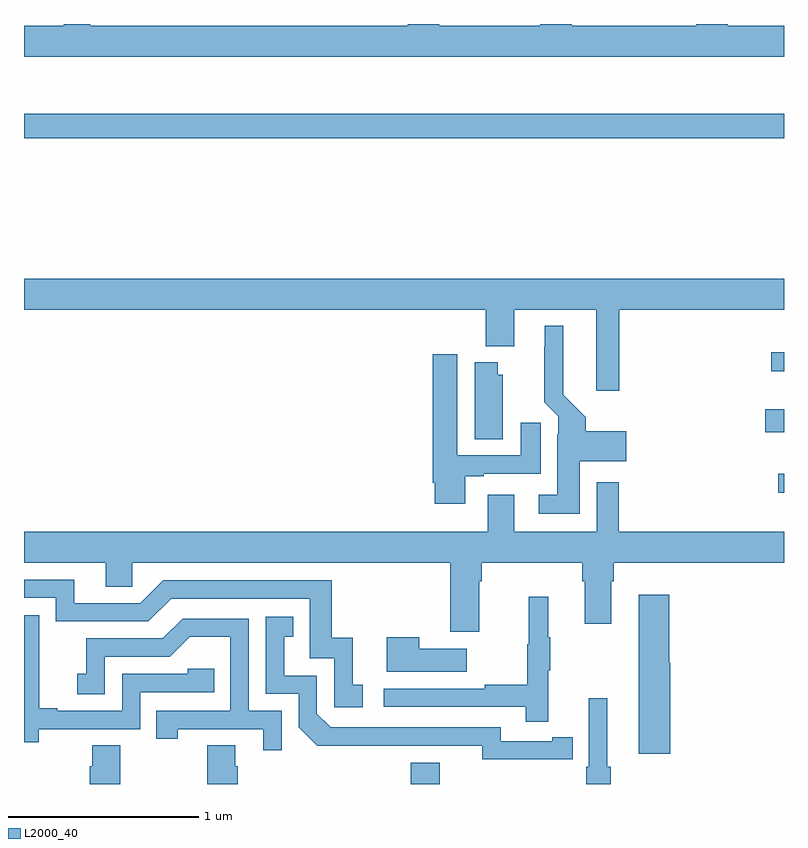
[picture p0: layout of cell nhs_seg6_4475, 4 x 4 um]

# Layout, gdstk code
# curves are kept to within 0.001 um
import gdstk
lib = gdstk.Library(unit=1e-6, precision=1e-09)
def R(c, l, rs):  # rectangles x0, y0, x1, y1
    for r in rs: c.add(gdstk.rectangle(r[:2], r[2:], *l))
def P(c, l, *ps):  # polygons
    for p in ps: c.add(gdstk.Polygon(p, *l))
L2000_40 = (2000, 40)

nhs_seg6_4475 = lib.new_cell('nhs_seg6_4475')
R(nhs_seg6_4475, L2000_40, [(377.036,951.5,377.188,951.613), (378.969,953.033,379,953.134), (378.9,953.351,379,953.473), (378.933,953.673,379,953.773), (375,954.898,379,955.027)])
P(nhs_seg6_4475, L2000_40, [(379,955.492),(378.704,955.492),(378.704,955.5),(378.539,955.5),(378.539,955.492),(377.882,955.492),(377.882,955.5),(377.717,955.5),(377.717,955.492),(377.186,955.492),(377.186,955.5),(377.021,955.5),(377.021,955.492),(375.348,955.492),(375.348,955.5),(375.209,955.5),(375.209,955.492),(375,955.492),(375,955.328),(379,955.328)],
  [(378.134,953.996),(379,953.996),(379,954.16),(375,954.16),(375,953.996),(377.429,953.996),(377.429,953.804),(377.581,953.804),(377.581,953.996),(378.011,953.996),(378.011,953.571),(378.134,953.571)],
  [(377.926,953.198),(378.169,953.198),(378.169,953.356),(377.957,953.356),(377.957,953.43),(377.839,953.548),(377.839,953.911),(377.741,953.911),(377.741,953.801),(377.737,953.801),(377.737,953.51),(377.811,953.436),(377.811,953.342),(377.807,953.342),(377.807,953.023),(377.709,953.023),(377.709,952.922),(377.926,952.922)],
  [(377.323,953.121),(377.419,953.121),(377.419,953.133),(377.719,953.133),(377.719,953.401),(377.615,953.401),(377.615,953.229),(377.281,953.229),(377.281,953.761),(377.15,953.761),(377.15,953.086),(377.162,953.086),(377.162,952.974),(377.323,952.974)],
  [(377.521,953.655),(377.494,953.655),(377.494,953.719),(377.372,953.719),(377.372,953.314),(377.521,953.314)],
  [(377.395,952.568),(377.408,952.568),(377.408,952.664),(377.939,952.664),(377.939,952.568),(377.951,952.568),(377.951,952.344),(378.091,952.344),(378.091,952.568),(378.104,952.568),(378.104,952.664),(379,952.664),(379,952.828),(378.131,952.828),(378.131,953.089),(378.015,953.089),(378.015,952.828),(377.581,952.828),(377.581,953.023),(377.441,953.023),(377.441,952.828),(375,952.828),(375,952.664),(375.431,952.664),(375.431,952.537),(375.57,952.537),(375.57,952.664),(377.243,952.664),(377.243,952.302),(377.395,952.302)],
  [(376.783,952.023),(376.73,952.023),(376.73,952.27),(376.619,952.27),(376.619,952.572),(375.732,952.572),(375.612,952.452),(375.265,952.452),(375.265,952.575),(375,952.575),(375,952.479),(375.168,952.479),(375.168,952.356),(375.654,952.356),(375.774,952.476),(376.503,952.476),(376.503,952.161),(376.632,952.161),(376.632,951.903),(376.783,951.903)],
  [(378.4,952.137),(378.395,952.137),(378.395,952.495),(378.236,952.495),(378.236,951.66),(378.4,951.66)],
  [(377.759,952.099),(377.77,952.099),(377.77,952.273),(377.759,952.273),(377.759,952.486),(377.656,952.486),(377.656,952.236),(377.649,952.236),(377.649,952.022),(377.425,952.022),(377.425,952.002),(376.893,952.002),(376.893,951.906),(377.641,951.906),(377.641,951.828),(377.759,951.828)],
  [(375.078,951.789),(375.612,951.789),(375.612,951.984),(376.001,951.984),(376.001,952.107),(375.861,952.107),(375.861,952.08),(375.516,952.08),(375.516,951.885),(375.175,951.885),(375.175,951.898),(375.08,951.898),(375.08,952.181),(375.081,952.181),(375.081,952.387),(375,952.387),(375,951.721),(375.078,951.721)],
  [(377.78,951.63),(377.888,951.63),(377.888,951.746),(377.78,951.746),(377.78,951.726),(377.508,951.726),(377.508,951.798),(376.614,951.798),(376.542,951.87),(376.542,952.071),(376.369,952.071),(376.369,952.275),(376.418,952.275),(376.418,952.381),(376.272,952.381),(376.272,951.975),(376.446,951.975),(376.446,951.798),(376.544,951.701),(377.412,951.702),(377.412,951.629)],
  [(376.356,951.885),(376.182,951.885),(376.182,952.371),(375.836,952.371),(375.731,952.266),(375.328,952.266),(375.328,952.081),(375.279,952.081),(375.279,951.972),(375.426,951.972),(375.426,952.17),(375.768,952.17),(375.872,952.274),(376.086,952.274),(376.086,951.885),(375.697,951.885),(375.697,951.738),(375.808,951.738),(375.808,951.789),(376.259,951.789),(376.259,951.678),(376.356,951.678)],
  [(377.329,952.213),(377.081,952.213),(377.081,952.273),(376.91,952.273),(376.91,952.091),(377.329,952.091)],
  [(378.089,951.592),(378.07,951.592),(378.07,951.952),(377.973,951.952),(377.973,951.592),(377.96,951.592),(377.96,951.5),(378.089,951.5)],
  [(376.124,951.594),(376.111,951.594),(376.111,951.704),(375.964,951.704),(375.964,951.5),(376.124,951.5)],
  [(375.507,951.704),(375.359,951.704),(375.359,951.594),(375.347,951.594),(375.347,951.5),(375.507,951.5)])

lib.write_gds('nhs_seg6_4475.gds')
